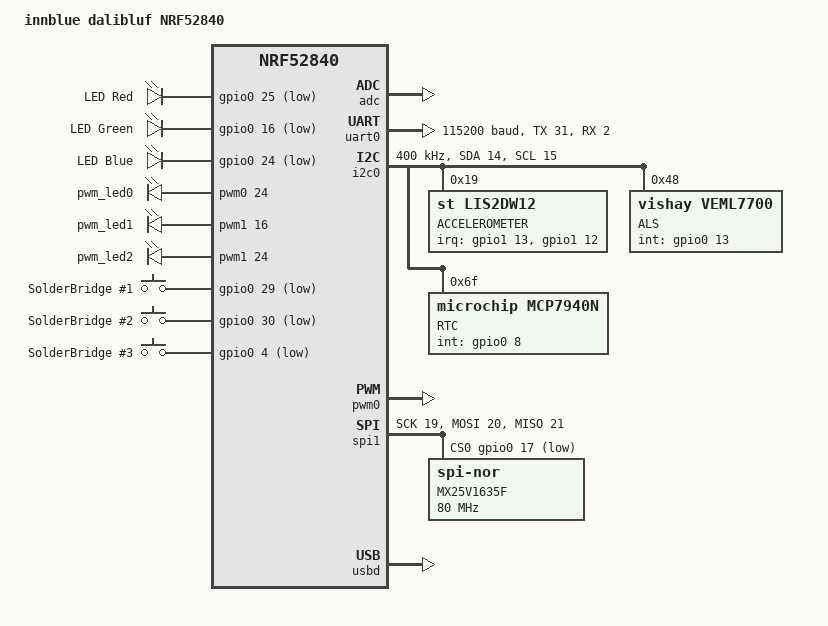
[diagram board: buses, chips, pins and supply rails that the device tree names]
/*
 * Copyright (c) 2021 innblue UG
 *
 * SPDX-License-Identifier: Apache-2.0
 *
 * Dali2/SensorReady Zhaga formfactor based on nRF52840 Board
 *
 * BluFDali --> F = full assembly (all features)
 *
 * i2c devices sda: p0.14 scl: p0.15
 * - accelerometer LIS2DTW12 addr: 0x19 ints: p1.12, p1.13
 * - ambient light VEML6030  addr: 0x48 ints: p0.13
 * - RTC with batt MCP7940N  addr: 0x6F ints: p0.08
 * 
 * JST i2c device sda: p1.09 scl: p0.11
 *
 * SPI devices
 * - Flash memory  MX25V1635FZUI
 *
 * PDM devices
 * - microphone    SPK0641HT4h
 *   gpios: dat p1.08 clk p1.01
 *
 * UI devices
 * - RGB led p0.25, p0.16, p0.24
 * - solderbridges p0.29, p0.30, p0.04
 * 
 * Dali device RX: p0.26 TX: p1.03
 *
 * JST UART p0.31, p0.02, p0.28, p0.03
 *
 * USB data only
 *
 */

/dts-v1/;
#include <nordic/nrf52840_qiaa.dtsi>

/ {
	model = "innblue dalibluf NRF52840";
	compatible = "nordic,dalibluf-nrf52840";

	chosen {
		zephyr,console = &uart0;
		zephyr,shell-uart = &uart0;
		zephyr,uart-mcumgr = &uart0;
		zephyr,bt-mon-uart = &uart0;
		zephyr,bt-c2h-uart = &uart0;
		zephyr,sram = &sram0;
		zephyr,flash = &flash0;
		zephyr,code-partition = &slot0_partition;
	};

	leds {
		compatible = "gpio-leds";
		led0: led_0 {
			gpios = <&gpio0 25 GPIO_ACTIVE_LOW>;
			label = "LED Red";
		};
		led1: led_1 {
			gpios = <&gpio0 16 GPIO_ACTIVE_LOW>;
			label = "LED Green";
		};
		led2: led_2 {
			gpios = <&gpio0 24 GPIO_ACTIVE_LOW>;
			label = "LED Blue";
		};
	};

	pwmleds {
		compatible = "pwm-leds";
		pwm_led0: pwm_led_0 {
			pwms = <&pwm0 24>;
			};
		pwm_led1: pwm_led1 {
			pwms = <&pwm1 16>;
		};
		pwm_led2: pwm_led2 {
			pwms = <&pwm1 24>;
		};
	};

	buttons {
		compatible = "gpio-keys";
		button0: button_0 {
			gpios = <&gpio0 29 (GPIO_PULL_UP | GPIO_ACTIVE_LOW)>;
			label = "SolderBridge #1";
		};
		button1: button_1 {
			gpios = <&gpio0 30 (GPIO_PULL_UP | GPIO_ACTIVE_LOW)>;
			label = "SolderBridge #2";
		};
		button2: button_2 {
			gpios = <&gpio0 4 (GPIO_PULL_UP | GPIO_ACTIVE_LOW)>;
			label = "SolderBridge #3";
		};
	};

	/* These aliases are provided for compatibility with samples */
	aliases {
		led0 = &led0;
		led1 = &led1;
		led2 = &led2;
		pwm-led0 = &pwm_led0;
		pwm-led1 = &pwm_led1;
		pwm-led2 = &pwm_led2;
		sw0 = &button0;
		sw1 = &button1;
		sw2 = &button2;
	};
};

&adc {
	status = "okay";
};

&gpiote {
	status = "okay";
};

&gpio0 {
	status = "okay";
};

&gpio1 {
	status = "okay";
};

&uart0 {
	compatible = "nordic,nrf-uart";
	status = "okay";
	current-speed = <115200>;
	rx-pin = <2>;
	tx-pin = <31>;
	rts-pin = <28>;
	cts-pin = <3>;
};

&i2c0 {
	compatible = "nordic,nrf-twim";
	status = "okay";
	sda-pin = <14>;
	scl-pin = <15>;
	clock-frequency = <I2C_BITRATE_FAST>;
	label = "I2C_MAIN";

	/* out of tree drivers */
	lis2dtw12@19 {
		compatible = "st,lis2dw12";
		reg = <0x19>;
		irq-gpios = <&gpio1 13 GPIO_ACTIVE_HIGH>, <&gpio1 12 GPIO_ACTIVE_HIGH>;
		label = "ACCELEROMETER";
	};

	veml6030@48 {
		compatible = "vishay,veml7700";
		reg = <0x48>;
		int_gpios = <&gpio0 13 GPIO_ACTIVE_HIGH>;
		label = "ALS";
	};

	onboardrtc0: mcp7940n@6f {
		compatible = "microchip,mcp7940n";
		reg = <0x6F>;
		int-gpios = <&gpio0 8 GPIO_ACTIVE_HIGH>;
		label = "RTC";
	};
};

&pwm0 {
	status = "okay";
	ch0-pin = <25>;
	ch0-inverted;
	ch1-pin = <16>;
	ch1-inverted;
	ch2-pin = <24>;
	ch2-inverted;
};

&spi1 {
	compatible = "nordic,nrf-spim";
	label = "SPI_MAIN";
	status = "okay";
	sck-pin = <19>;
	mosi-pin = <20>;
	miso-pin = <21>;
	cs-gpios = <&gpio0 17 GPIO_ACTIVE_LOW>;
	/* io2: p0.22 io3: p0.23 */
	spi_mx25v1635f: mx25v1635f@0 {
		compatible = "jedec,spi-nor";
		label = "MX25V1635F";
		reg = <0>;
		spi-max-frequency = <80000000>;
		size = <0x1600000>;
		has-dpd;
		t-enter-dpd = <4000>;
		t-exit-dpd = <30000>;
		jedec-id = [c2 23 15];
	};
};

&flash0 {

	partitions {
		compatible = "fixed-partitions";
		#address-cells = <1>;
		#size-cells = <1>;

		boot_partition: partition@0 {
			label = "mcuboot";
			reg = <0x000000000 0x0000C000>;
		};
		slot0_partition: partition@c000 {
			label = "image-0";
			reg = <0x0000C000 0x00067000>;
		};
		slot1_partition: partition@73000 {
			label = "image-1";
			reg = <0x00073000 0x00067000>;
		};
		scratch_partition: partition@da000 {
			label = "image-scratch";
			reg = <0x000da000 0x0001e000>;
		};

		/*
		 * The flash starting at 0x000f8000 and ending at
		 * 0x000fffff is reserved for use by the application.
		 */

		/*
		 * Storage partition will be used by FCB/LittleFS/NVS
		 * if enabled.gpio
		 */
		storage_partition: partition@f8000 {
			label = "storage";
			reg = <0x000f8000 0x00008000>;
		};
	};
};

&usbd {
	compatible = "nordic,nrf-usbd";
	status = "okay";
};
